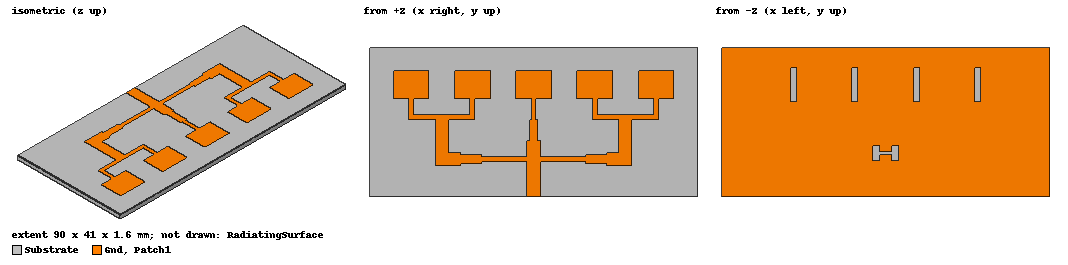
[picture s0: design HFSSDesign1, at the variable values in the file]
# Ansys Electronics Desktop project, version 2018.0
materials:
  vacuum: permittivity=1
  Rogers RT/duroid 5880 (tm): permittivity=2.2 dielectric_loss_tangent=0.0009

design HFSSDesign1 (HFSS, DrivenModal, model units mm)
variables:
  Hs = 1.599791mm
  Ws = 90mm
  Ls = 41mm
  Wp = 9.8071233mm
  Lp = 8.1324mm
  S = 16.812361mm
  W_100 = 1.32978832mm
  W_50 = 3.58391475mm
  W_70 = 2.32559147mm
  QWT_70 = 5.74635304mm
  QWT_50 = 7.0412958mm
  K = 0.357773682mm
  L_50_Main = 15.4841872mm
  L_100_P = 5.61008314mm
  L_50_Left = 9.0515338mm
  dm = 0.5mm
  Wslot = 1.6038mm
  Lslot = 9.20285344mm
  Lhandle = 3.035916mm
  Whandle = 0.99594mm
  L_d = 3.96mm
  W_d = 1.960072mm
  J = 4.26278376mm
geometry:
  Substrate [Rogers RT/duroid 5880 (tm)] = box(corner=(-Ws/2, 0mm, 0mm), size=(Ws, Ls, -Hs))
  Patch1 = rectangle(corner=(-Wp/2-2*S, L_50_Main+QWT_70+L_100_P, 0mm), x_size=Wp, y_size=Lp-K)
  Patch2 = rectangle(corner=(-Wp/2-S, L_50_Main+QWT_70+L_100_P, 0mm), x_size=Wp, y_size=Lp-K)
  Patch3 = rectangle(corner=(-Wp/2, L_50_Main+QWT_70+L_100_P, 0mm), x_size=Wp, y_size=Lp-K)
  Patch4 = rectangle(corner=(-Wp/2+S, L_50_Main+QWT_70+L_100_P, 0mm), x_size=Wp, y_size=Lp-K)
  Patch5 = rectangle(corner=(-Wp/2+2*S, L_50_Main+QWT_70+L_100_P, 0mm), x_size=Wp, y_size=Lp-K)
  Rectangle6 = rectangle(corner=(-W_50/2, L_50_Main+QWT_70-L_50_Left-W_50/2+W_70/2-W_70/2+W_100/2, 0mm), x_size=(-Wp/2-2*S+Wp/2-S)/2+QWT_50+QWT_70, y_size=-W_100)
  Rectangle7 = rectangle(corner=(W_50/2, L_50_Main+QWT_70-L_50_Left-W_50/2+W_70/2-W_70/2+W_100/2, 0mm), x_size=(Wp/2+2*S+(-Wp/2)+S)/2-QWT_50-QWT_70, y_size=-W_100)
  Rectangle8 = rectangle(corner=(-W_50/2, 0mm, 0mm), x_size=W_50, y_size=L_50_Main)
  Rectangle9 = rectangle(corner=((-Wp/2-2*S+Wp/2-S)/2-W_50/2, L_50_Main+QWT_70, 0mm), x_size=W_50, y_size=-L_50_Left)
  Rectangle10 = rectangle(corner=((Wp/2+2*S+(-Wp/2)+S)/2+W_50/2, L_50_Main+QWT_70, 0mm), x_size=-W_50, y_size=-L_50_Left)
  Rectangle11 = rectangle(corner=(-W_100/2, L_50_Main+QWT_70, 0mm), x_size=W_100, y_size=L_100_P)
  Rectangle12 = rectangle(corner=((-Wp/2-2*S+Wp/2-S)/2-W_50/2+QWT_50, L_50_Main+QWT_70-L_50_Left-W_50/2+W_70/2, 0mm), x_size=QWT_70, y_size=-W_70)
  Rectangle13 = rectangle(corner=(-W_70/2, L_50_Main, 0mm), x_size=W_70, y_size=QWT_70)
  Rectangle14 = rectangle(corner=((Wp/2+2*S+(-Wp/2)+S)/2+W_50/2-QWT_50, L_50_Main+QWT_70-L_50_Left-W_50/2+W_70/2, 0mm), x_size=-QWT_70, y_size=-W_70)
  Rectangle15 = rectangle(corner=(2*S-W_100/2-(3*S-W_100/2-2*S-W_100/2), L_50_Main+QWT_70, 0mm), x_size=(3*S-W_100/2-2*S-W_100/2)/2, y_size=W_100)
  Rectangle16 = rectangle(corner=(-2*S+W_100/2, L_50_Main+QWT_70, 0mm), x_size=(2*S-W_100/2-S-W_100/2)/2, y_size=W_100)
  Rectangle17 = rectangle(corner=(-2*S+W_100/2+2*S-W_100/2-S-W_100/2, L_50_Main+QWT_70, 0mm), x_size=-(2*S-W_100/2-S-W_100/2)/2, y_size=W_100)
  Rectangle18 = rectangle(corner=(2*S-W_100/2, L_50_Main+QWT_70, 0mm), x_size=-(3*S-W_100/2-2*S-W_100/2)/2, y_size=W_100)
  Rectangle19 = rectangle(corner=((-Wp/2-2*S+Wp/2-S)/2-W_50/2, L_50_Main+QWT_70-L_50_Left, 0mm), x_size=QWT_50, y_size=-W_50)
  Rectangle20 = rectangle(corner=((Wp/2+2*S+(-Wp/2)+S)/2+W_50/2, L_50_Main+QWT_70-L_50_Left, 0mm), x_size=-QWT_50, y_size=-W_50)
  Rectangle21 = rectangle(corner=(-2*S-W_100/2, L_50_Main+QWT_70, 0mm), x_size=W_100, y_size=L_100_P)
  Rectangle22 = rectangle(corner=(-S-W_100/2, L_50_Main+QWT_70, 0mm), x_size=W_100, y_size=L_100_P)
  Rectangle23 = rectangle(corner=(S+W_100/2, L_50_Main+QWT_70, 0mm), x_size=-W_100, y_size=L_100_P)
  Rectangle24 = rectangle(corner=(2*S+W_100/2, L_50_Main+QWT_70, 0mm), x_size=-W_100, y_size=L_100_P)
  Gnd = rectangle(corner=(-Ws/2, 0mm, -Hs), x_size=Ws, y_size=Ls)
  Rectangle26 = rectangle(corner=(2*S-W_100/2-(3*S-W_100/2-2*S-W_100/2)/2-Wslot/2, L_50_Main+QWT_70+L_100_P+Lslot/2+(Lp-k)/2, -Hs), x_size=Wslot, y_size=-Lslot)
  Rectangle27 = rectangle(corner=(S-W_100/2-(3*S-W_100/2-2*S-W_100/2)/2-Wslot/2, L_50_Main+QWT_70+L_100_P+Lslot/2+(Lp-k)/2, -Hs), x_size=Wslot, y_size=-Lslot)
  Rectangle28 = rectangle(corner=(-(S-W_100/2-(3*S-W_100/2-2*S-W_100/2)/2-Wslot/2), L_50_Main+QWT_70+L_100_P+Lslot/2+(Lp-k)/2, -Hs), x_size=-Wslot, y_size=-Lslot)
  Rectangle29 = rectangle(corner=(-(2*S-W_100/2-(3*S-W_100/2-2*S-W_100/2)/2-Wslot/2), L_50_Main+QWT_70+L_100_P+Lslot/2+(Lp-k)/2, -Hs), x_size=-Wslot, y_size=-Lslot)
  Rectangle30 = rectangle(corner=(-Lhandle/2, L_50_Main/2-L_d/2+J, -Hs), x_size=-W_d, y_size=L_d)
  Rectangle31 = rectangle(corner=(Lhandle/2, L_50_Main/2-L_d/2+J, -Hs), x_size=W_d, y_size=L_d)
  Rectangle32 = rectangle(corner=(-Lhandle/2, L_50_Main/2-Whandle/2+J, -Hs), x_size=Lhandle, y_size=Whandle)
  Port = rectangle(corner=(-W_50/2, 0mm, 0mm), z_size=-Hs, x_size=W_50)
  Patch1.unite(Patch2..Patch5, Rectangle6..Rectangle24)
  Gnd.subtract(Rectangle26..Rectangle29)
  Gnd.subtract(Rectangle30, Rectangle31, Rectangle32)
  RadiatingSurface [vacuum] = region(absolute_offset=10mm on all sides)
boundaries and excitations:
  Ground: Perfect E Objects=Gnd
  PerfE1: Perfect E Objects=Patch1
  Open1: Radiation Objects=RadiatingSurface
  1: Lumped Port Objects=Port Modes{Mode1{IntLine{middle of Port.edge(z opposite corner) -> middle of Port.edge(z at corner)} CharImp=Zpi RenormImp=50ohm}} Impedance=50ohm
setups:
  Setup1: HfssDriven Frequency=10GHz MaxDeltaS=0.02 MaximumPasses=20 MinimumPasses=1 MinimumConvergedPasses=1 PercentRefinement=30 BasisOrder=1 PortAccuracy=2
    sweep Sweep: 5GHz to 15GHz, 801 points; Type=Discrete SaveFields
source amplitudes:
  1:1: 1W 0deg
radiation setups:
  3D: Infinite Sphere Theta=0deg..180deg step 2deg Phi=-180deg..180deg step 2deg
  Elevation: Infinite Sphere Theta=-180deg..180deg step 1deg Phi=0deg..90deg step 90deg
  Azimuth: Infinite Sphere Theta=90deg..90deg step 0deg Phi=-180deg..180deg step 1deg
  Infinite Sphere1: Infinite Sphere Theta=0deg..360deg step 5deg Phi=0deg..0deg step 0deg
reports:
  S Parameter Plot 1: dB(S(1,1)) vs Freq on Setup1 : Sweep; markers m1 at 9.9625GHz, m2 at 10.5GHz, MY1 at y=-10
  Antenna Params Plot 1: abs(RadiationEfficiency) vs Freq on Setup1 : LastAdaptive; markers m1 at 10GHz
  Gain Plot: dB(GainTotal) vs Theta on Setup1 : Sweep, Infinite Sphere1 [Phi=all Freq=10GHz]; markers m1 at 360deg
  VSWR Plot 1: abs(VSWR(1)) vs Freq on Setup1 : Sweep; markers m1 at 10GHz
  rE Plot 1: dB(GainTotal) vs Theta on Setup1 : Sweep, Infinite Sphere1 [Phi=all Freq=10GHz]
  Gain Plot 1: dB(GainTotal) vs Phi, Theta on Setup1 : Sweep, 3D [Freq=10GHz]
